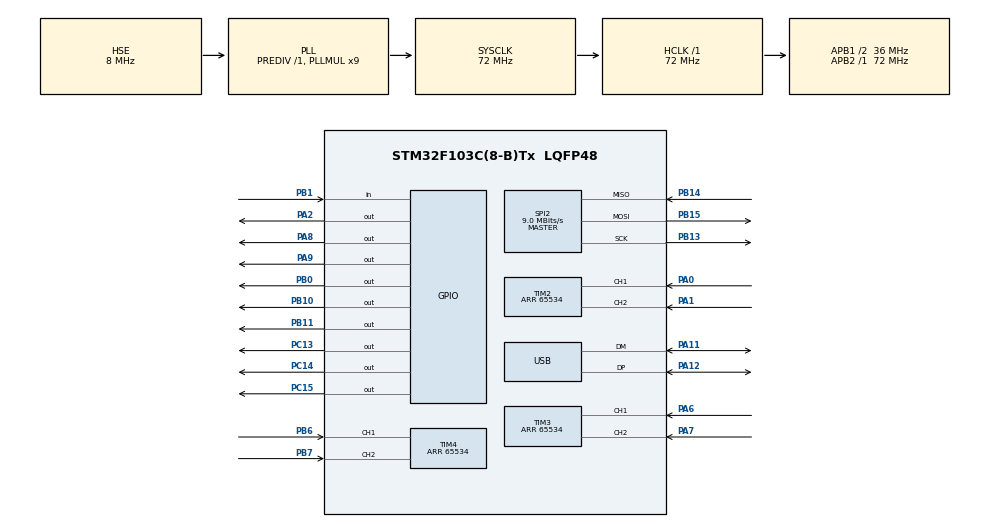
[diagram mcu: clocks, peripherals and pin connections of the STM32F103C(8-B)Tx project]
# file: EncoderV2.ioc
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FREERTOS.Tasks01=defaultTask,2,128,StartDefaultTask,Default,NULL,Dynamic,NULL,NULL;myTask02,-2,128,StartTask02,Default,NULL,Dynamic,NULL,NULL;myTask03,2,128,StartTask03,Default,NULL,Dynamic,NULL,NULL;myTask04,-2,128,StartTask04,Default,NULL,Dynamic,NULL,NULL
Mcu.Family=STM32F1
Mcu.Name=STM32F103C(8-B)Tx
Mcu.Package=LQFP48
NVIC.PriorityGroup=NVIC_PRIORITYGROUP_4
NVIC.SPI2_IRQn=true\:5\:0\:false\:false\:true\:true\:true\:true
NVIC.TIM1_UP_IRQn=true\:0\:0\:false\:false\:true\:false\:false\:true
NVIC.TimeBase=TIM1_UP_IRQn
NVIC.TimeBaseIP=TIM1
NVIC.USB_LP_CAN1_RX0_IRQn=true\:5\:0\:false\:false\:true\:true\:false\:true
PA0-WKUP.GPIO_Mode=GPIO_MODE_INPUT
PA0-WKUP.GPIO_PuPd=GPIO_PULLDOWN
PA0-WKUP.Signal=S_TIM2_CH1_ETR
PA1.GPIO_Mode=GPIO_MODE_INPUT
PA1.GPIO_PuPd=GPIO_PULLDOWN
PA1.Signal=S_TIM2_CH2
PA11.Mode=Device
PA11.Signal=USB_DM
PA12.Mode=Device
PA12.Signal=USB_DP
PA13.Mode=Serial_Wire
PA13.Signal=SYS_JTMS-SWDIO
PA14.Mode=Serial_Wire
PA14.Signal=SYS_JTCK-SWCLK
PA2.PinState=GPIO_PIN_SET
PA2.Signal=GPIO_Output
PA6.GPIO_Mode=GPIO_MODE_INPUT
PA6.GPIO_PuPd=GPIO_PULLDOWN
PA6.Signal=S_TIM3_CH1
PA7.GPIO_Mode=GPIO_MODE_INPUT
PA7.GPIO_PuPd=GPIO_PULLDOWN
PA7.Signal=S_TIM3_CH2
PA8.GPIO_Speed=GPIO_SPEED_FREQ_HIGH
PA8.Signal=GPIO_Output
PA9.GPIO_Speed=GPIO_SPEED_FREQ_HIGH
PA9.Signal=GPIO_Output
PB0.Signal=GPIO_Output
PB1.GPIO_PuPd=GPIO_PULLUP
PB1.Signal=GPIO_Input
PB10.Signal=GPIO_Output
PB11.Signal=GPIO_Output
PB13.Mode=Full_Duplex_Master
PB13.Signal=SPI2_SCK
PB14.Mode=Full_Duplex_Master
PB14.Signal=SPI2_MISO
PB15.Mode=Full_Duplex_Master
PB15.Signal=SPI2_MOSI
PB6.GPIO_PuPd=GPIO_PULLDOWN
PB6.Signal=S_TIM4_CH1
PB7.GPIO_PuPd=GPIO_PULLDOWN
PB7.Signal=S_TIM4_CH2
PC13-TAMPER-RTC.Signal=GPIO_Output
PC14-OSC32_IN.Signal=GPIO_Output
PC15-OSC32_OUT.Signal=GPIO_Output
PD0-OSC_IN.Mode=HSE-External-Oscillator
PD0-OSC_IN.Signal=RCC_OSC_IN
PD1-OSC_OUT.Mode=HSE-External-Oscillator
PD1-OSC_OUT.Signal=RCC_OSC_OUT
ProjectManager.HeapSize=0x200
ProjectManager.StackSize=0x400
ProjectManager.TargetToolchain=MDK-ARM V5.27
RCC.AHBFreq_Value=72000000
RCC.APB1CLKDivider=RCC_HCLK_DIV2
RCC.APB1Freq_Value=36000000
RCC.APB1TimFreq_Value=72000000
RCC.APB2Freq_Value=72000000
RCC.APB2TimFreq_Value=72000000
RCC.HCLKFreq_Value=72000000
RCC.PLLMUL=RCC_PLL_MUL9
RCC.PLLSourceVirtual=RCC_PLLSOURCE_HSE
RCC.SYSCLKFreq_VALUE=72000000
RCC.SYSCLKSource=RCC_SYSCLKSOURCE_PLLCLK
RCC.USBFreq_Value=48000000
RCC.USBPrescaler=RCC_USBCLKSOURCE_PLL_DIV1_5
SH.S_TIM2_CH1_ETR.0=TIM2_CH1,Encoder_Interface
SH.S_TIM2_CH2.0=TIM2_CH2,Encoder_Interface
SH.S_TIM3_CH1.0=TIM3_CH1,Encoder_Interface
SH.S_TIM3_CH2.0=TIM3_CH2,Encoder_Interface
SH.S_TIM4_CH1.0=TIM4_CH1,Encoder_Interface
SH.S_TIM4_CH2.0=TIM4_CH2,Encoder_Interface
SPI2.BaudRatePrescaler=SPI_BAUDRATEPRESCALER_4
SPI2.CalculateBaudRate=9.0 MBits/s
SPI2.Direction=SPI_DIRECTION_2LINES
SPI2.Mode=SPI_MODE_MASTER
SPI2.VirtualType=VM_MASTER
TIM2.EncoderMode=TIM_ENCODERMODE_TI12
TIM2.Period=65534
TIM3.EncoderMode=TIM_ENCODERMODE_TI12
TIM3.Period=65534
TIM4.EncoderMode=TIM_ENCODERMODE_TI12
TIM4.Period=65534
USB_DEVICE.CLASS_NAME_FS=CDC
USB_DEVICE.VirtualMode=Cdc
USB_DEVICE.VirtualModeFS=Cdc_FS
VP_FREERTOS_VS_CMSIS_V1.Mode=CMSIS_V1
VP_SYS_VS_tim1.Mode=TIM1
VP_USB_DEVICE_VS_USB_DEVICE_CDC_FS.Mode=CDC_FS
board=custom

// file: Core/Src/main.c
/* USER CODE BEGIN Header */
/**
  ******************************************************************************
  * @file           : main.c
  * @brief          : Main program body
  ******************************************************************************
  * @attention
  *
  * <h2><center>&copy; Copyright (c) 2021 STMicroelectronics.
  * All rights reserved.</center></h2>
  *
  * This software component is licensed by ST under Ultimate Liberty license
  * SLA0044, the "License"; You may not use this file except in compliance with
  * the License. You may obtain a copy of the License at:
  *                             www.st.com/SLA0044
  *
  ******************************************************************************
  */
/* USER CODE END Header */

#include "main.h"
#include "cmsis_os.h"
#include "usb_device.h"

/* USER CODE BEGIN Includes */

#include "enc28j60.h"
#include "send_RTTRPM.h"
#include <stdio.h>
#include <string.h>
#include <uip.h>
#include <uip_arp.h>

#define DEVICE  1

/* USER CODE END Includes */

SPI_HandleTypeDef hspi2;

TIM_HandleTypeDef htim2;
TIM_HandleTypeDef htim3;
TIM_HandleTypeDef htim4;

osThreadId defaultTaskHandle;
osThreadId myTask02Handle;
osThreadId myTask03Handle;
osThreadId myTask04Handle;
/* USER CODE BEGIN PV */

#define ALL 3

//При еденице уже не справляется, отдает только 700 пакетов/с вместо 1000
#define DELAY_READ_ENCODER 2

double test = 0;
int dir = 1;

uint8_t reg = 0;

//Множитель
int multiplier = 1;
//Смещение
int offset = 0;

uint16_t stat_link;
uint8_t lstat = 0;

uint32_t old_time[3] = {0};
uint32_t latency[3] = {0};

int8_t config_mode = 0;

//время бездействия в режиме конфигурации, для отключения режима при бездействии
uint32_t time_to_config_mode = 0;

xQueueHandle q;
xQueueHandle xQueueCommand;

double EncoderPosition[3] = {0, 0, 0};
double oldEncoderPosition[3] = {0, 0, 0};

uint16_t lan_stat;
extern uint8_t isConnected;
int8_t old_isConnected;

uint16_t reset_encoder(int i)
{
	EncoderPosition[i] = 0;
}

uint16_t read_encoder(int i)
{
	uint16_t counter = 0;
	switch(i)
	{
		case 0:
			counter = TIM3->CNT;
			break;
		case 1:
			counter = TIM2->CNT;
			break;
		case 2:
			counter = TIM4->CNT;
			break;
	}
	return counter;
}

void led_chanel_on(int i)
{
	switch(i)
	{
		case 0:
			LD_0_ON;
			break;
		case 1:
			LD_1_ON;
			break;
		case 2:
			LD_2_ON;
			break;
		case 3:
			LD_0_ON;
			LD_1_ON;
			LD_2_ON;
			break;
	}
}
void led_chanel_toggle(int i)
{
	switch(i)
	{
		case 0:
			LD_0_TG;
			break;
		case 1:
			LD_1_TG;
			break;
		case 2:
			LD_2_TG;
			break;
		case 3:
			LD_0_TG;
			LD_1_TG;
			LD_2_TG;
			break;
	}
}
void led_chanel_off(int i)
{
	switch(i)
	{
		case 0:
			LD_0_OFF;
			break;
		case 1:
			LD_1_OFF;
			break;
		case 2:
			LD_2_OFF;
			break;
		case 3:
			LD_0_OFF;
			LD_1_OFF;
			LD_2_OFF;
			break;
	}
}

/* USER CODE END PV */

void SystemClock_Config(void);
static void MX_GPIO_Init(void);
static void MX_TIM4_Init(void);
static void MX_SPI2_Init(void);
static void MX_TIM3_Init(void);
static void MX_TIM2_Init(void);
void StartDefaultTask(void const * argument);
void StartTask02(void const * argument);
void StartTask03(void const * argument);
void StartTask04(void const * argument);

int main(void)
{

  /* MCU Configuration--------------------------------------------------------*/

  /* Reset of all peripherals, Initializes the Flash interface and the Systick. */
  HAL_Init();

  /* Configure the system clock */
  SystemClock_Config();

  /* Initialize all configured peripherals */
  MX_GPIO_Init();
  MX_TIM4_Init();
  MX_SPI2_Init();
  MX_TIM3_Init();
  MX_TIM2_Init();
  /* USER CODE BEGIN 2 */

	#if DEVICE == 1
		struct uip_eth_addr mac = { {0x00,0x15,0x48,0xBF,0xF0,0x50}};
	#elif DEVICE == 2
		struct uip_eth_addr mac = { {0x00,0x15,0x48,0xBF,0xF0,0x51}};
	#endif

	q = xQueueCreate( 1, sizeof(double[3]));
	xQueueCommand = xQueueCreate( 10, sizeof(uint8_t));

	enc28j60_ini(&mac);

	uip_init();
	uip_arp_init();
	uip_setethaddr(mac);

	HAL_Delay(100);

	//hello_world_init();

	struct timer periodic_timer, arp_timer;
  LD_OFF;
	/* Initialise the uIP stack. */
	timer_set(&periodic_timer, configTICK_RATE_HZ / 2);
	timer_set(&arp_timer, configTICK_RATE_HZ * 10);

	RTTRPM_init(&uip_ethaddr, sizeof(uip_ethaddr));

	uip_ipaddr_t ipaddr;

	#if DEVICE == 1
	uip_ipaddr(ipaddr, 192, 168, 1, 50);
	#elif DEVICE == 2
	uip_ipaddr(ipaddr, 192, 168, 1, 51);
	#endif
	uip_sethostaddr(ipaddr);
	uip_ipaddr(ipaddr, 192, 168, 1, 1);
	uip_setdraddr(ipaddr);
	uip_ipaddr(ipaddr, 255, 255, 255, 0);
	uip_setnetmask(ipaddr);

	HAL_TIM_Encoder_Start(&htim3, TIM_CHANNEL_ALL);
	HAL_TIM_Encoder_Start(&htim2, TIM_CHANNEL_ALL);
	HAL_TIM_Encoder_Start(&htim4, TIM_CHANNEL_ALL);

  /* USER CODE END 2 */

  /* Create the thread(s) */
  /* definition and creation of defaultTask */
  osThreadDef(defaultTask, StartDefaultTask, osPriorityHigh, 0, 128);
  defaultTaskHandle = osThreadCreate(osThread(defaultTask), NULL);

  /* definition and creation of myTask02 */
  osThreadDef(myTask02, StartTask02, osPriorityLow, 0, 128);
  myTask02Handle = osThreadCreate(osThread(myTask02), NULL);

  /* definition and creation of myTask03 */
  osThreadDef(myTask03, StartTask03, osPriorityHigh, 0, 128);
  myTask03Handle = osThreadCreate(osThread(myTask03), NULL);

  /* definition and creation of myTask04 */
  osThreadDef(myTask04, StartTask04, osPriorityLow, 0, 128);
  myTask04Handle = osThreadCreate(osThread(myTask04), NULL);

  /* Start scheduler */
  osKernelStart();

  /* We should never get here as control is now taken by the scheduler */
  /* Infinite loop */
  while (1)
  {

  }
}

void SystemClock_Config(void)
{
  RCC_OscInitTypeDef RCC_OscInitStruct = {0};
  RCC_ClkInitTypeDef RCC_ClkInitStruct = {0};
  RCC_PeriphCLKInitTypeDef PeriphClkInit = {0};

  /** Initializes the RCC Oscillators according to the specified parameters
  * in the RCC_OscInitTypeDef structure.
  */
  RCC_OscInitStruct.OscillatorType = RCC_OSCILLATORTYPE_HSE;
  RCC_OscInitStruct.HSEState = RCC_HSE_ON;
  RCC_OscInitStruct.HSEPredivValue = RCC_HSE_PREDIV_DIV1;
  RCC_OscInitStruct.HSIState = RCC_HSI_ON;
  RCC_OscInitStruct.PLL.PLLState = RCC_PLL_ON;
  RCC_OscInitStruct.PLL.PLLSource = RCC_PLLSOURCE_HSE;
  RCC_OscInitStruct.PLL.PLLMUL = RCC_PLL_MUL9;
  if (HAL_RCC_OscConfig(&RCC_OscInitStruct) != HAL_OK)
  {
    Error_Handler();
  }
  /** Initializes the CPU, AHB and APB buses clocks
  */
  RCC_ClkInitStruct.ClockType = RCC_CLOCKTYPE_HCLK|RCC_CLOCKTYPE_SYSCLK
                              |RCC_CLOCKTYPE_PCLK1|RCC_CLOCKTYPE_PCLK2;
  RCC_ClkInitStruct.SYSCLKSource = RCC_SYSCLKSOURCE_PLLCLK;
  RCC_ClkInitStruct.AHBCLKDivider = RCC_SYSCLK_DIV1;
  RCC_ClkInitStruct.APB1CLKDivider = RCC_HCLK_DIV2;
  RCC_ClkInitStruct.APB2CLKDivider = RCC_HCLK_DIV1;

  if (HAL_RCC_ClockConfig(&RCC_ClkInitStruct, FLASH_LATENCY_2) != HAL_OK)
  {
    Error_Handler();
  }
  PeriphClkInit.PeriphClockSelection = RCC_PERIPHCLK_USB;
  PeriphClkInit.UsbClockSelection = RCC_USBCLKSOURCE_PLL_DIV1_5;
  if (HAL_RCCEx_PeriphCLKConfig(&PeriphClkInit) != HAL_OK)
  {
    Error_Handler();
  }
}

static void MX_SPI2_Init(void)
{

  /* SPI2 parameter configuration*/
  hspi2.Instance = SPI2;
  hspi2.Init.Mode = SPI_MODE_MASTER;
  hspi2.Init.Direction = SPI_DIRECTION_2LINES;
  hspi2.Init.DataSize = SPI_DATASIZE_8BIT;
  hspi2.Init.CLKPolarity = SPI_POLARITY_LOW;
  hspi2.Init.CLKPhase = SPI_PHASE_1EDGE;
  hspi2.Init.NSS = SPI_NSS_SOFT;
  hspi2.Init.BaudRatePrescaler = SPI_BAUDRATEPRESCALER_4;
  hspi2.Init.FirstBit = SPI_FIRSTBIT_MSB;
  hspi2.Init.TIMode = SPI_TIMODE_DISABLE;
  hspi2.Init.CRCCalculation = SPI_CRCCALCULATION_DISABLE;
  hspi2.Init.CRCPolynomial = 10;
  if (HAL_SPI_Init(&hspi2) != HAL_OK)
  {
    Error_Handler();
  }

}

static void MX_TIM2_Init(void)
{

  TIM_Encoder_InitTypeDef sConfig = {0};
  TIM_MasterConfigTypeDef sMasterConfig = {0};

  htim2.Instance = TIM2;
  htim2.Init.Prescaler = 0;
  htim2.Init.CounterMode = TIM_COUNTERMODE_UP;
  htim2.Init.Period = 65534;
  htim2.Init.ClockDivision = TIM_CLOCKDIVISION_DIV1;
  htim2.Init.AutoReloadPreload = TIM_AUTORELOAD_PRELOAD_DISABLE;
  sConfig.EncoderMode = TIM_ENCODERMODE_TI12;
  sConfig.IC1Polarity = TIM_ICPOLARITY_RISING;
  sConfig.IC1Selection = TIM_ICSELECTION_DIRECTTI;
  sConfig.IC1Prescaler = TIM_ICPSC_DIV1;
  sConfig.IC1Filter = 0;
  sConfig.IC2Polarity = TIM_ICPOLARITY_RISING;
  sConfig.IC2Selection = TIM_ICSELECTION_DIRECTTI;
  sConfig.IC2Prescaler = TIM_ICPSC_DIV1;
  sConfig.IC2Filter = 0;
  if (HAL_TIM_Encoder_Init(&htim2, &sConfig) != HAL_OK)
  {
    Error_Handler();
  }
  sMasterConfig.MasterOutputTrigger = TIM_TRGO_RESET;
  sMasterConfig.MasterSlaveMode = TIM_MASTERSLAVEMODE_DISABLE;
  if (HAL_TIMEx_MasterConfigSynchronization(&htim2, &sMasterConfig) != HAL_OK)
  {
    Error_Handler();
  }

}

static void MX_TIM3_Init(void)
{

  TIM_Encoder_InitTypeDef sConfig = {0};
  TIM_MasterConfigTypeDef sMasterConfig = {0};

  htim3.Instance = TIM3;
  htim3.Init.Prescaler = 0;
  htim3.Init.CounterMode = TIM_COUNTERMODE_UP;
  htim3.Init.Period = 65534;
  htim3.Init.ClockDivision = TIM_CLOCKDIVISION_DIV1;
  htim3.Init.AutoReloadPreload = TIM_AUTORELOAD_PRELOAD_DISABLE;
  sConfig.EncoderMode = TIM_ENCODERMODE_TI12;
  sConfig.IC1Polarity = TIM_ICPOLARITY_RISING;
  sConfig.IC1Selection = TIM_ICSELECTION_DIRECTTI;
  sConfig.IC1Prescaler = TIM_ICPSC_DIV1;
  sConfig.IC1Filter = 0;
  sConfig.IC2Polarity = TIM_ICPOLARITY_RISING;
  sConfig.IC2Selection = TIM_ICSELECTION_DIRECTTI;
  sConfig.IC2Prescaler = TIM_ICPSC_DIV1;
  sConfig.IC2Filter = 0;
  if (HAL_TIM_Encoder_Init(&htim3, &sConfig) != HAL_OK)
  {
    Error_Handler();
  }
  sMasterConfig.MasterOutputTrigger = TIM_TRGO_RESET;
  sMasterConfig.MasterSlaveMode = TIM_MASTERSLAVEMODE_DISABLE;
  if (HAL_TIMEx_MasterConfigSynchronization(&htim3, &sMasterConfig) != HAL_OK)
  {
    Error_Handler();
  }

}

static void MX_TIM4_Init(void)
{

  TIM_Encoder_InitTypeDef sConfig = {0};
  TIM_MasterConfigTypeDef sMasterConfig = {0};

  htim4.Instance = TIM4;
  htim4.Init.Prescaler = 0;
  htim4.Init.CounterMode = TIM_COUNTERMODE_UP;
  htim4.Init.Period = 65534;
  htim4.Init.ClockDivision = TIM_CLOCKDIVISION_DIV1;
  htim4.Init.AutoReloadPreload = TIM_AUTORELOAD_PRELOAD_DISABLE;
  sConfig.EncoderMode = TIM_ENCODERMODE_TI12;
  sConfig.IC1Polarity = TIM_ICPOLARITY_RISING;
  sConfig.IC1Selection = TIM_ICSELECTION_DIRECTTI;
  sConfig.IC1Prescaler = TIM_ICPSC_DIV1;
  sConfig.IC1Filter = 0;
  sConfig.IC2Polarity = TIM_ICPOLARITY_RISING;
  sConfig.IC2Selection = TIM_ICSELECTION_DIRECTTI;
  sConfig.IC2Prescaler = TIM_ICPSC_DIV1;
  sConfig.IC2Filter = 0;
  if (HAL_TIM_Encoder_Init(&htim4, &sConfig) != HAL_OK)
  {
    Error_Handler();
  }
  sMasterConfig.MasterOutputTrigger = TIM_TRGO_RESET;
  sMasterConfig.MasterSlaveMode = TIM_MASTERSLAVEMODE_DISABLE;
  if (HAL_TIMEx_MasterConfigSynchronization(&htim4, &sMasterConfig) != HAL_OK)
  {
    Error_Handler();
  }

}

static void MX_GPIO_Init(void)
{
  GPIO_InitTypeDef GPIO_InitStruct = {0};

  /* GPIO Ports Clock Enable */
  __HAL_RCC_GPIOC_CLK_ENABLE();
  __HAL_RCC_GPIOD_CLK_ENABLE();
  __HAL_RCC_GPIOA_CLK_ENABLE();
  __HAL_RCC_GPIOB_CLK_ENABLE();

  /*Configure GPIO pin Output Level */
  HAL_GPIO_WritePin(GPIOC, GPIO_PIN_13|GPIO_PIN_14|GPIO_PIN_15, GPIO_PIN_RESET);

  /*Configure GPIO pin Output Level */
  HAL_GPIO_WritePin(GPIOA, GPIO_PIN_2, GPIO_PIN_SET);

  /*Configure GPIO pin Output Level */
  HAL_GPIO_WritePin(GPIOB, GPIO_PIN_0|GPIO_PIN_10|GPIO_PIN_11, GPIO_PIN_RESET);

  /*Configure GPIO pin Output Level */
  HAL_GPIO_WritePin(GPIOA, GPIO_PIN_8|GPIO_PIN_9, GPIO_PIN_RESET);

  /*Configure GPIO pins : PC13 PC14 PC15 */
  GPIO_InitStruct.Pin = GPIO_PIN_13|GPIO_PIN_14|GPIO_PIN_15;
  GPIO_InitStruct.Mode = GPIO_MODE_OUTPUT_PP;
  GPIO_InitStruct.Pull = GPIO_NOPULL;
  GPIO_InitStruct.Speed = GPIO_SPEED_FREQ_LOW;
  HAL_GPIO_Init(GPIOC, &GPIO_InitStruct);

  /*Configure GPIO pin : PA2 */
  GPIO_InitStruct.Pin = GPIO_PIN_2;
  GPIO_InitStruct.Mode = GPIO_MODE_OUTPUT_PP;
  GPIO_InitStruct.Pull = GPIO_NOPULL;
  GPIO_InitStruct.Speed = GPIO_SPEED_FREQ_LOW;
  HAL_GPIO_Init(GPIOA, &GPIO_InitStruct);

  /*Configure GPIO pins : PB0 PB10 PB11 */
  GPIO_InitStruct.Pin = GPIO_PIN_0|GPIO_PIN_10|GPIO_PIN_11;
  GPIO_InitStruct.Mode = GPIO_MODE_OUTPUT_PP;
  GPIO_InitStruct.Pull = GPIO_NOPULL;
  GPIO_InitStruct.Speed = GPIO_SPEED_FREQ_LOW;
  HAL_GPIO_Init(GPIOB, &GPIO_InitStruct);

  /*Configure GPIO pin : PB1 */
  GPIO_InitStruct.Pin = GPIO_PIN_1;
  GPIO_InitStruct.Mode = GPIO_MODE_INPUT;
  GPIO_InitStruct.Pull = GPIO_PULLUP;
  HAL_GPIO_Init(GPIOB, &GPIO_InitStruct);

  /*Configure GPIO pins : PA8 PA9 */
  GPIO_InitStruct.Pin = GPIO_PIN_8|GPIO_PIN_9;
  GPIO_InitStruct.Mode = GPIO_MODE_OUTPUT_PP;
  GPIO_InitStruct.Pull = GPIO_NOPULL;
  GPIO_InitStruct.Speed = GPIO_SPEED_FREQ_HIGH;
  HAL_GPIO_Init(GPIOA, &GPIO_InitStruct);

}

/* USER CODE BEGIN 4 */
void uip_log(char *msg) {

}
/* USER CODE END 4 */

void StartDefaultTask(void const * argument)
{
  /* init code for USB_DEVICE */
  MX_USB_DEVICE_Init();
  /* USER CODE BEGIN 5 */
  /* Infinite loop */
  for (int i=0; 1; i++) {
		osDelay(1000);
		if(i == 10)
		{
			uip_arp_timer();
			i = 0;
		}

	}
  /* USER CODE END 5 */
}

void StartTask02(void const * argument)
{
  /* USER CODE BEGIN StartTask02 */
	uint8_t short_state = 0;
  uint8_t long_state = 0;
  uint32_t time_key1 = 0;

  /* Infinite loop */
  for(;;)
  {
    uip_len = enc28j60_packetReceive((uint8_t *) uip_buf, UIP_BUFSIZE);
		if (uip_len > 0) {
			if (BUF->type == htons(UIP_ETHTYPE_IP)) {
				uip_arp_ipin();
				uip_input();
				if (uip_len > 0) {
					uip_arp_out();
					enc28j60_packetSend((uint8_t *) uip_buf, uip_len);
				}
			} else if (BUF->type == htons(UIP_ETHTYPE_ARP)) {
				uip_arp_arpin();
				if (uip_len > 0) {
					enc28j60_packetSend((uint8_t *) uip_buf, uip_len);
				}
			}
		}

		for(int i = 0; i < UIP_UDP_CONNS; i++) {

			uip_udp_periodic(i);
			if(uip_len > 0) {
				uip_arp_out();
				enc28j60_packetSend((uint8_t *) uip_buf, uip_len);
			}
		}

		for (uint8_t i = 0; i < UIP_CONNS; i++) {
			uip_periodic(i);
			if (uip_len > 0) {
				uip_arp_out();
				enc28j60_packetSend((uint8_t *) uip_buf, uip_len);
			}
		}

		//Отслеживаем нажатие кнопки на контроллере
		uint32_t ms = HAL_GetTick();
		uint8_t key1_state = HAL_GPIO_ReadPin(GPIOB, GPIO_PIN_1);

		if(key1_state == 0 && !short_state && (ms - time_key1) > 50)
		{
			short_state = 1;
			long_state = 0;
			time_key1 = ms;
		}
		else if(key1_state == 0 && !long_state && (ms - time_key1) > 2000)
		{
			long_state = 1;
			// действие на длинное нажатие

			if(config_mode == 0)
			{
				time_to_config_mode = HAL_GetTick();

				config_mode = 1;
				led_chanel_on(0);
				led_chanel_off(1);
				led_chanel_off(2);
			}
			else
			{
				if(config_mode == 4) {

					led_chanel_off(ALL);
					HAL_Delay(100);
					led_chanel_on(ALL);
					HAL_Delay(100);
					led_chanel_off(ALL);
					HAL_Delay(100);
					led_chanel_on(ALL);
					HAL_Delay(100);
					led_chanel_off(ALL);
					reset_encoder(0);
					reset_encoder(1);
					reset_encoder(2);
				}
				else
				{
					led_chanel_off(config_mode-1);
					HAL_Delay(100);
					led_chanel_on(config_mode-1);
					HAL_Delay(100);
					led_chanel_off(config_mode-1);
					HAL_Delay(100);
					led_chanel_on(config_mode-1);
					HAL_Delay(100);
					led_chanel_off(config_mode-1);
					reset_encoder(config_mode-1);
				}

				led_chanel_off(ALL);
				config_mode = 0;

			}
		}
		else if(key1_state == 1 && short_state && (ms - time_key1) > 50)
		{
			short_state = 0;
			time_key1 = ms;

			if(!long_state)
			{
				// действие на короткое нажатие
				if(config_mode != 0)
				{
					time_to_config_mode = HAL_GetTick();

					if(config_mode == 4)
					{
						config_mode = 1;
					}
					else
					{
						config_mode ++;
					}

					switch(config_mode)
					{
						case 1:
							led_chanel_on(0);
							led_chanel_off(1);
							led_chanel_off(2);
							break;
						case 2:
							led_chanel_off(0);
							led_chanel_on(1);
							led_chanel_off(2);
							break;
						case 3:
							led_chanel_off(0);
							led_chanel_off(1);
							led_chanel_on(2);
							break;
						case 4:
							led_chanel_on(ALL);
							break;
					}
				}
			}
		}

		if(HAL_GetTick() - time_to_config_mode > 10000 && config_mode != 0)
		{
			config_mode = 0;
			led_chanel_off(ALL);
		}

		taskYIELD();
  }
  /* USER CODE END StartTask02 */
}

void StartTask03(void const * argument)
{
  /* USER CODE BEGIN StartTask03 */

	//Запускаем автообновление PHY регистра PHSTAT1 для опроса состояния линка
	enc28j60PhystartScan(PHSTAT1);

	uint16_t counter[3] = {TIM2->CNT, TIM3->CNT, TIM4->CNT};
	uint16_t oldCounter[3] = {counter[0], counter[1], counter[2]};
	uint8_t count_period_read_encoder = 0;
	xQueueSend(q, ( void * ) &EncoderPosition, portMAX_DELAY  );

	uint32_t time = 0;

  /* Infinite loop */
  for(;;)
  {

		//Если получили комманду по telnet
		if( uxQueueMessagesWaiting(xQueueCommand) > 0)
		{
			uint8_t commandName;
			xQueueReceive( xQueueCommand, &( commandName ), portMAX_DELAY );
			switch(commandName){
				case COMMAND_RESET_COUNTER:

					break;
				case SEND_MOTOR_POSITION:
				//	if( isConnected == 1 ) xQueueSend(q, ( void * ) &motorPosition, portMAX_DELAY  );
					break;
		}
		}

		if((HAL_GetTick() - time) > 500) // интервал 1000мс = 1сек
		{
			 // HAL_GPIO_TogglePin(GPIOB, GPIO_PIN_11);
				time = HAL_GetTick();
		}

		for(int i=0; i<=2; i++)
		{
			//Считываем значение энкодера для канала i (от 0 до 2 - всего 3 канала)
			counter[i] = read_encoder(i);

			latency[i] = HAL_GetTick() - old_time[i];
			old_time[i] = HAL_GetTick();

			if (abs(oldCounter[i] - counter[i]) > 32767)
			{
					if (oldCounter[i] < counter[i])
					{
							EncoderPosition[i] -= 65535 - counter[i] + oldCounter[i];
					}
					else
					{
							EncoderPosition[i] += 65535 - oldCounter[i] + counter[i];
					}
			}
			else
			{
					EncoderPosition[i] += (counter[i] - oldCounter[i]);
			}

			//Мигаем синими светодиодами, если не включен режим конфигурации и есть сигнал на каналах.
			if(config_mode == 0)
				{
					//Если изменение больше чем две еденицы, т.е данные счетчик получил по двум каналам таймера
					if(abs((int)(oldEncoderPosition[i] - EncoderPosition[i])) >= 2)
					{
						//То каждые 10 иттераций меняем состояние светодиода данного канала
						if(count_period_read_encoder == 10)
						{
							led_chanel_toggle(i);
							count_period_read_encoder = 0;
						}
						count_period_read_encoder++;
					}
					else led_chanel_off(i);
				}

			oldEncoderPosition[i] = EncoderPosition[i];
			oldCounter[i] = counter[i];

		}
//		if(test <= 0 ) dir = 1;
//		else if(test >= 1000) dir = 0;
//
//		if(dir == 1) test += 0.1;
//		if(dir == 0) test -= 0.1;
//
//		EncoderPosition[2] = test;
		//Отправляем значение энкодера  в очередь на отправку
		xQueueSend(q, ( void * ) &EncoderPosition, portMAX_DELAY  );
		vTaskDelay(2);
		//osDelay(DELAY_READ_ENCODER);
  }
  /* USER CODE END StartTask03 */
}

void StartTask04(void const * argument)
{
  /* USER CODE BEGIN StartTask04 */

  /* Infinite loop */
  for(;;)
  {
		//Читаем информацию о линке, и проверяем, если за 100 проходов линк ни разу не появился, то зажигаем красный светодиод.
		//stat_link = enc28j60PhyReadH(PHSTAT2);
//		if(stat_link == 0) lstat = (lstat==10)?10:lstat+1;
//		else lstat = 0;
//
//		if(lstat == 10) LD_RED_ON;
//		else LD_RED_OFF;
//		stat_link = enc28j60PhyReadScan()&0x04;
//		if(stat_link != 0) LD_RED_OFF;
//		else LD_RED_ON;

    osDelay(100);
  }
  /* USER CODE END StartTask04 */
}

 /**
  * @brief  Period elapsed callback in non blocking mode
  * @note   This function is called  when TIM1 interrupt took place, inside
  * HAL_TIM_IRQHandler(). It makes a direct call to HAL_IncTick() to increment
  * a global variable "uwTick" used as application time base.
  * @param  htim : TIM handle
  * @retval None
  */
void HAL_TIM_PeriodElapsedCallback(TIM_HandleTypeDef *htim)
{
  if (htim->Instance == TIM1) {
    HAL_IncTick();
  }
}

void Error_Handler(void)
{
  __disable_irq();
  while (1)
  {
  }
}

/************************ (C) COPYRIGHT STMicroelectronics *****END OF FILE****/
